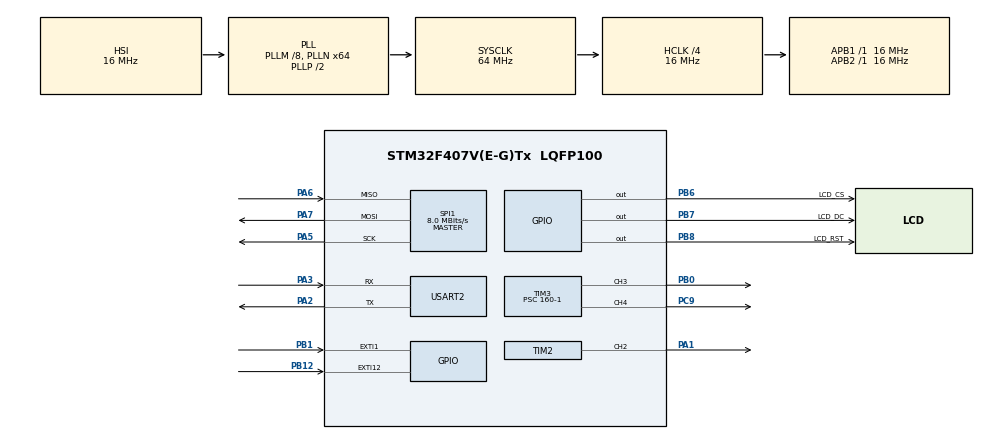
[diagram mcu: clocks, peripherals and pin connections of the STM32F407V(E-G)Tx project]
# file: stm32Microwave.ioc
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Dma.Request0=USART2_RX
Dma.USART2_RX.0.Direction=DMA_PERIPH_TO_MEMORY
Dma.USART2_RX.0.FIFOMode=DMA_FIFOMODE_DISABLE
Dma.USART2_RX.0.Instance=DMA1_Stream5
Dma.USART2_RX.0.MemDataAlignment=DMA_MDATAALIGN_BYTE
Dma.USART2_RX.0.MemInc=DMA_MINC_ENABLE
Dma.USART2_RX.0.Mode=DMA_CIRCULAR
Dma.USART2_RX.0.PeriphDataAlignment=DMA_PDATAALIGN_BYTE
Dma.USART2_RX.0.PeriphInc=DMA_PINC_DISABLE
Dma.USART2_RX.0.Priority=DMA_PRIORITY_HIGH
FREERTOS.Tasks01=defaultTask,24,128,StartDefaultTask,Default,NULL,Dynamic,NULL,NULL
FREERTOS.configLIBRARY_MAX_SYSCALL_INTERRUPT_PRIORITY=3
FREERTOS.configTOTAL_HEAP_SIZE=30000
FREERTOS.configUSE_NEWLIB_REENTRANT=1
FREERTOS.configUSE_OS2_EVENTFLAGS_FROM_ISR=0
FREERTOS.configUSE_OS2_MUTEX=0
FREERTOS.configUSE_OS2_THREAD_ENUMERATE=0
FREERTOS.configUSE_OS2_THREAD_FLAGS=0
FREERTOS.configUSE_OS2_THREAD_SUSPEND_RESUME=0
FREERTOS.configUSE_OS2_TIMER=0
Mcu.Family=STM32F4
Mcu.Name=STM32F407V(E-G)Tx
Mcu.Package=LQFP100
NVIC.DMA1_Stream5_IRQn=true\:4\:0\:true\:false\:true\:true\:false\:true\:true
NVIC.EXTI15_10_IRQn=true\:7\:0\:true\:false\:true\:true\:true\:true\:true
NVIC.EXTI1_IRQn=true\:6\:0\:true\:false\:true\:true\:true\:true\:true
NVIC.PriorityGroup=NVIC_PRIORITYGROUP_4
NVIC.TIM4_IRQn=true\:5\:0\:true\:false\:true\:true\:true\:true\:true
NVIC.TIM6_DAC_IRQn=true\:15\:0\:false\:false\:true\:false\:false\:true\:true
NVIC.TimeBase=TIM6_DAC_IRQn
NVIC.TimeBaseIP=TIM6
NVIC.USART2_IRQn=true\:3\:0\:false\:false\:true\:true\:true\:true\:true
PA1.GPIO_Speed=GPIO_SPEED_FREQ_HIGH
PA1.Signal=S_TIM2_CH2
PA2.Mode=Asynchronous
PA2.Signal=USART2_TX
PA3.Mode=Asynchronous
PA3.Signal=USART2_RX
PA5.Mode=Full_Duplex_Master
PA5.Signal=SPI1_SCK
PA6.Mode=Full_Duplex_Master
PA6.Signal=SPI1_MISO
PA7.Mode=Full_Duplex_Master
PA7.Signal=SPI1_MOSI
PB0.Signal=S_TIM3_CH3
PB1.Signal=GPXTI1
PB12.Signal=GPXTI12
PB6.GPIO_Label=LCD_CS
PB6.Signal=GPIO_Output
PB7.GPIO_Label=LCD_DC
PB7.Signal=GPIO_Output
PB8.GPIO_Label=LCD_RST
PB8.Signal=GPIO_Output
PC14-OSC32_IN.Mode=LSE-External-Oscillator
PC14-OSC32_IN.Signal=RCC_OSC32_IN
PC15-OSC32_OUT.Mode=LSE-External-Oscillator
PC15-OSC32_OUT.Signal=RCC_OSC32_OUT
PC9.Signal=S_TIM3_CH4
PH0-OSC_IN.Mode=HSE-External-Oscillator
PH0-OSC_IN.Signal=RCC_OSC_IN
PH1-OSC_OUT.Mode=HSE-External-Oscillator
PH1-OSC_OUT.Signal=RCC_OSC_OUT
ProjectManager.HeapSize=0x200
ProjectManager.StackSize=0x400
ProjectManager.TargetToolchain=STM32CubeIDE
RCC.48MHZClocksFreq_Value=32000000
RCC.AHBCLKDivider=RCC_SYSCLK_DIV4
RCC.AHBFreq_Value=16000000
RCC.APB1Freq_Value=16000000
RCC.APB1TimFreq_Value=16000000
RCC.APB2Freq_Value=16000000
RCC.APB2TimFreq_Value=16000000
RCC.CortexFreq_Value=16000000
RCC.HCLKFreq_Value=16000000
RCC.HSE_VALUE=8000000
RCC.HSI_VALUE=16000000
RCC.PLLM=8
RCC.PLLN=64
RCC.SYSCLKFreq_VALUE=64000000
RCC.SYSCLKSource=RCC_SYSCLKSOURCE_PLLCLK
RCC.VCOOutputFreq_Value=128000000
SH.S_TIM2_CH2.0=TIM2_CH2,PWM Generation2 CH2
SH.S_TIM3_CH3.0=TIM3_CH3,PWM Generation3 CH3
SH.S_TIM3_CH4.0=TIM3_CH4,PWM Generation4 CH4
SPI1.CalculateBaudRate=8.0 MBits/s
SPI1.Direction=SPI_DIRECTION_2LINES
SPI1.Mode=SPI_MODE_MASTER
SPI1.VirtualType=VM_MASTER
TIM2.Channel-PWM\ Generation2\ CH2=TIM_CHANNEL_2
TIM2.Period=100-1
TIM2.Prescaler=160-1
TIM2.Pulse-PWM\ Generation2\ CH2=500
TIM3.Channel-PWM\ Generation3\ CH3=TIM_CHANNEL_3
TIM3.Channel-PWM\ Generation4\ CH4=TIM_CHANNEL_4
TIM3.Period=100-1
TIM3.Prescaler=160-1
TIM4.Period=1000-1
TIM4.Prescaler=16000-1
TIM4.TIM_MasterOutputTrigger=TIM_TRGO_UPDATE
USART2.VirtualMode=VM_ASYNC
VP_FREERTOS_VS_CMSIS_V2.Mode=CMSIS_V2
VP_SYS_VS_tim6.Mode=TIM6
VP_TIM2_VS_ClockSourceINT.Mode=Internal
VP_TIM4_VS_ClockSourceINT.Mode=Internal
board=custom

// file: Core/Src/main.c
/* USER CODE BEGIN Header */
/**
  ******************************************************************************
  * @file           : main.c
  * @brief          : Main program body
  ******************************************************************************
  * @attention
  *
  * Copyright (c) 2025 STMicroelectronics.
  * All rights reserved.
  *
  * This software is licensed under terms that can be found in the LICENSE file
  * in the root directory of this software component.
  * If no LICENSE file comes with this software, it is provided AS-IS.
  *
  ******************************************************************************
  */
/* USER CODE END Header */
#include "main.h"
#include "cmsis_os.h"
#include "dma.h"
#include "spi.h"
#include "tim.h"
#include "usart.h"
#include "gpio.h"

/* USER CODE BEGIN Includes */
#include "led.h"
#include "lcd.h"
#include "beep.h"
#include "delay.h"
#include "stm32f4xx_hal.h"
#include "micro_wave_oven.h"

/* USER CODE END Includes */

/* USER CODE BEGIN PTD */
Beep_HandleTypeDef hbeep;

/* USER CODE END PTD */

/* USER CODE BEGIN PV */

//
led_d LED_GREEN;   // PD12
led_d LED_ORANGE;  // PD13
led_d led1;     // PD14//red
led_d LED_BLUE;    // PD15

/* USER CODE END PV */

void SystemClock_Config(void);
void MX_FREERTOS_Init(void);

int main(void)
{

  /* MCU Configuration--------------------------------------------------------*/

  /* Reset of all peripherals, Initializes the Flash interface and the Systick. */
  HAL_Init();

  /* Configure the system clock */
  SystemClock_Config();

  /* Initialize all configured peripherals */
  MX_GPIO_Init();
  MX_DMA_Init();
  MX_USART2_UART_Init();
  MX_SPI1_Init();
  MX_TIM4_Init();
  MX_TIM2_Init();
  MX_TIM3_Init();
  /* USER CODE BEGIN 2 */

  //HAL_NVIC_SetPriority(DMA1_Stream5_IRQn, 4, 0);  // override it, make DMA=4

  LCD_Init();
  //LCD_SetRotation(0);
  //LCD_Backlight_On();

  Font_Init();     // builds asc2_1206 / asc2_1608 from font8x16.h

  //run_lcd_probe();
  //HAL_Delay(1500);
  //run_text_ascii();
  //HAL_Delay(1500);

  MicrowaveCtrl mw1;
  micro_wave_init(&mw1);

  /* USER CODE END 2 */

  /* Init scheduler */
  osKernelInitialize();  /* Call init function for freertos objects (in cmsis_os2.c) */
  MX_FREERTOS_Init();

  /* Start scheduler */
  osKernelStart();

  /* We should never get here as control is now taken by the scheduler */

  /* Infinite loop */
  while (1)
  {

  }
}

void SystemClock_Config(void)
{
  RCC_OscInitTypeDef RCC_OscInitStruct = {0};
  RCC_ClkInitTypeDef RCC_ClkInitStruct = {0};

  /** Configure the main internal regulator output voltage
  */
  __HAL_RCC_PWR_CLK_ENABLE();
  __HAL_PWR_VOLTAGESCALING_CONFIG(PWR_REGULATOR_VOLTAGE_SCALE1);

  /** Initializes the RCC Oscillators according to the specified parameters
  * in the RCC_OscInitTypeDef structure.
  */
  RCC_OscInitStruct.OscillatorType = RCC_OSCILLATORTYPE_HSI;
  RCC_OscInitStruct.HSIState = RCC_HSI_ON;
  RCC_OscInitStruct.HSICalibrationValue = RCC_HSICALIBRATION_DEFAULT;
  RCC_OscInitStruct.PLL.PLLState = RCC_PLL_ON;
  RCC_OscInitStruct.PLL.PLLSource = RCC_PLLSOURCE_HSI;
  RCC_OscInitStruct.PLL.PLLM = 8;
  RCC_OscInitStruct.PLL.PLLN = 64;
  RCC_OscInitStruct.PLL.PLLP = RCC_PLLP_DIV2;
  RCC_OscInitStruct.PLL.PLLQ = 4;
  if (HAL_RCC_OscConfig(&RCC_OscInitStruct) != HAL_OK)
  {
    Error_Handler();
  }

  /** Initializes the CPU, AHB and APB buses clocks
  */
  RCC_ClkInitStruct.ClockType = RCC_CLOCKTYPE_HCLK|RCC_CLOCKTYPE_SYSCLK
                              |RCC_CLOCKTYPE_PCLK1|RCC_CLOCKTYPE_PCLK2;
  RCC_ClkInitStruct.SYSCLKSource = RCC_SYSCLKSOURCE_PLLCLK;
  RCC_ClkInitStruct.AHBCLKDivider = RCC_SYSCLK_DIV4;
  RCC_ClkInitStruct.APB1CLKDivider = RCC_HCLK_DIV1;
  RCC_ClkInitStruct.APB2CLKDivider = RCC_HCLK_DIV1;

  if (HAL_RCC_ClockConfig(&RCC_ClkInitStruct, FLASH_LATENCY_0) != HAL_OK)
  {
    Error_Handler();
  }
}

void HAL_TIM_PeriodElapsedCallback(TIM_HandleTypeDef *htim)
{
  if (htim->Instance == TIM6)
  {
    HAL_IncTick();
  }
}

void Error_Handler(void)
{
  __disable_irq();
  while (1)
  {
  }
}
